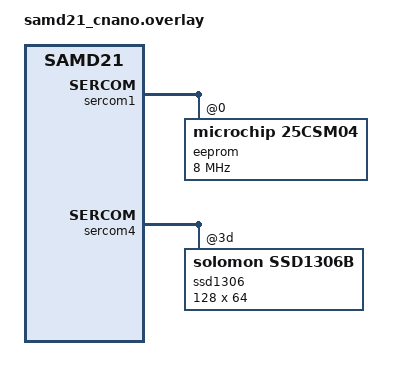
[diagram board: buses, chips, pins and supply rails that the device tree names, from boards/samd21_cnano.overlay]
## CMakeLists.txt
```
# SPDX-License-Identifier: Apache-2.0

cmake_minimum_required(VERSION 3.28.0)
find_package(Zephyr REQUIRED HINTS $ENV{ZEPHYR_BASE})
project(spi_eeprom)
target_sources(app PRIVATE src/main.c)
```

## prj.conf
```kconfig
CONFIG_DISPLAY=y
CONFIG_CHARACTER_FRAMEBUFFER=y
CONFIG_HEAP_MEM_POOL_SIZE=8192

CONFIG_EEPROM=y

CONFIG_SPI=y
```

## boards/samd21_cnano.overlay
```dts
/*
 * SPDX-License-Identifier: Apache-2.0
*/

#include <freq.h>

/{
    chosen {
        zephyr,display = &ssd1306;
    };
};

&sercom1 {
    eeprom: eeprom@0 {
    compatible = "microchip,25csm04", "atmel,at25";
    reg = <0>;
    size = <DT_SIZE_K(512)>;
    pagesize = <256>;
    address-width = <24>;
    spi-max-frequency = <DT_FREQ_M(8)>;
    timeout = <5>;
  };
};

&sercom4 {
    ssd1306: ssd1306@3d {
        compatible = "solomon,ssd1306b";
        reg = <0x3d>;
        segment-offset = <0>;
        page-offset = <0>;
        display-offset = <0>;
        multiplex-ratio = <63>;
        prechargep = <0x22>;
        height = <64>;
        width = <128>;
        segment-remap;
        com-invdir;
    };
};
```

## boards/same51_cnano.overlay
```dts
/*
 * SPDX-License-Identifier: Apache-2.0
*/

#include <freq.h>

/{
    chosen {
        zephyr,display = &ssd1306;
    };
};

&sercom1 {
    eeprom: eeprom@0 {
    compatible = "microchip,25csm04", "atmel,at25";
    reg = <0>;
    size = <DT_SIZE_K(512)>;
    pagesize = <256>;
    address-width = <24>;
    spi-max-frequency = <DT_FREQ_M(8)>;
    timeout = <5>;
  };
};

&sercom2 {
    ssd1306: ssd1306@3d {
        compatible = "solomon,ssd1306b";
        reg = <0x3d>;
        segment-offset = <0>;
        page-offset = <0>;
        display-offset = <0>;
        multiplex-ratio = <63>;
        prechargep = <0x22>;
        height = <64>;
        width = <128>;
        segment-remap;
        com-invdir;
    };
};
```

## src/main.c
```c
/*
 * Curiosity Nano Explorer 25CSM04 SPI EEPROM Test
 * Reads the last 4 joystick inputs from the user and determines if it matches
 * the current password. If the last 4 joystick inputs match the password, then the
 * screen will say "UNLOCKED", otherwise it will say "LOCKED".
 * 
 * Password note: The initial password is UP, RIGHT, DOWN, LEFT (U R D L) but
 * the moment that the user presses the SW3 button the password is changed to the
 * last 4 joystick inputs. The password is written into EEPROM so even upon turning
 * the power off the most recent password will remain.
 * 
 * SPDX-License-Identifier: Apache-2.0
 */

#include <zephyr/devicetree.h>
#include <zephyr/device.h>
#include <zephyr/display/cfb.h>
#include <zephyr/drivers/eeprom.h>
#include <zephyr/drivers/i2c.h>
#include <zephyr/kernel.h>
#include <stdio.h>

/* ---------- MCP23008 (I/O Expander 2) ---------- */
#define IOEXP2_ADDR     0x24
#define MCP_IODIR       0x00
#define MCP_GPPU        0x06
#define MCP_GPIO        0x09

#define JOY_UP          BIT(0)
#define JOY_LEFT        BIT(1)
#define JOY_DOWN        BIT(2)
#define JOY_RIGHT       BIT(3)
#define SW3             BIT(5)
#define JOY_DIR_MASK    (JOY_UP | JOY_LEFT | JOY_DOWN | JOY_RIGHT | SW3)

/* ---------- Timing ---------- */
#define POLL_MS         20      /* joystick polling period */

static const struct device* ssd1306 = DEVICE_DT_GET(DT_CHOSEN(zephyr_display));
static const struct device* eeprom  = DEVICE_DT_GET(DT_NODELABEL(eeprom));
static const struct device* i2c_bus = DEVICE_DT_GET(DT_BUS(DT_CHOSEN(zephyr_display)));
static uint16_t past_moves = 0xFFFF; // used to represent the past 4 moves
static uint16_t password = 0;

static int ioexp_init(void)
{
	int ret;

	ret = i2c_reg_write_byte(i2c_bus, IOEXP2_ADDR, MCP_IODIR, 0xFF); /* all inputs */
	if (ret) {
		return ret;
	}
	return i2c_reg_write_byte(i2c_bus, IOEXP2_ADDR, MCP_GPPU, 0xFF); /* all pull-ups on */
}

/* Returns a bitmask of PRESSED inputs (active-high after inversion), or <0 on error */
static int ioexp_read_pressed(void)
{
	uint8_t val;
	int ret = i2c_reg_read_byte(i2c_bus, IOEXP2_ADDR, MCP_GPIO, &val);

	return ret ? ret : (uint8_t)~val;
}

static void handle_move(uint8_t dirs)
{
	if (dirs & JOY_UP) {
		past_moves <<= 4;
        return;
	}
	if (dirs & JOY_RIGHT) {
		past_moves <<= 4;
		past_moves |= 0x1;
        return;
	}
	if (dirs & JOY_DOWN) {
		past_moves <<= 4;
		past_moves |= 0x2;
        return;
	}
	if (dirs & JOY_LEFT) {
		past_moves <<= 4;
		past_moves |= 0x3;
        return;
	}
	if(dirs & SW3){
		password = past_moves;
		int ret = eeprom_write(eeprom, 0x0000, &password, sizeof(password));
		if(ret != 0) {
			return;
		}
	}
}

int main() {

	if (!device_is_ready(ssd1306)) {
		return 0;
	}

    if (!device_is_ready(eeprom)) {
        return 0;
    }

    if (!device_is_ready(i2c_bus)) {
        return 0;
    }

    if (cfb_framebuffer_init(ssd1306)) { // initialize CFB for use with SSD1306
		return 0;
	}

    if (ioexp_init() != 0) { // initialize I/O Expander 2
        return 0;
    }

    if (eeprom_read(eeprom, 0x0000, &password, sizeof(password)) != 0) // ensure EEPROM is reading correctly
	{   
		return 0;
	}

    if(password == 0xFFFF) { // if there is no password currently in EEPROM
        password = 0x0123;   // set the password to up right left down
    }

    uint8_t prev = 0;

    while(1) {
        uint8_t font_height; //initially 16 pixels, used to select row # for text
        int ret = 0; //used for error handling

        cfb_get_font_size(ssd1306, 0, 0, &font_height);

        cfb_framebuffer_clear(ssd1306, false);

		if(past_moves == password){
			ret = cfb_print(ssd1306, "UNLOCKED", 0, 0); // line 0 on display
			if (ret < 0)
			{   
				return 0;
			}
		} else {
			ret = cfb_print(ssd1306, "LOCKED", 0, 0); // line 0 on display
			if (ret < 0)
			{   
				return 0;
			}
	}

		ret = cfb_print(ssd1306, "------------", 0, font_height*1); // line 1 on display
		if (ret < 0)
		{   
			return 0;
		}

		ret = cfb_print(ssd1306, "INPUT:", 0, font_height*2); // line 2 on display
		if (ret < 0)
		{   
			return 0;
		}
		
		/* --------- JOYSTICK INPUT ----------------*/
        int pressed = ioexp_read_pressed();
		if (pressed < 0) {
			printk("I2C read error %d\n", pressed);
			k_msleep(200);
			continue;
		}

		uint8_t now = (uint8_t)pressed;
		uint8_t new_presses = now & ~prev;

		uint8_t dirs = now & JOY_DIR_MASK;
		if (new_presses & JOY_DIR_MASK) {
			handle_move(dirs);
		}
		/* ----------- END JOYSTICK INPUT --------------- */

		/* --------- MESSAGE CONSTRUCTION ----------------*/
		char message[8];
		const char directions[] = {'U', 'R', 'D', 'L'};

		for (int i = 0; i < 4; i++)
		{
			uint16_t input = (past_moves >> (12 - (i * 4))) & 0xF;

			message[i * 2] = (input < 4) ? directions[input] : 'E';
			message[i * 2 + 1] = ' ';
		}

		message[7] = '\0';
		/* ------------ END MESSAGE CONSTRUCTION---------------- */

		ret = cfb_print(ssd1306, message, 0, font_height * 3); //line 3 on display
		if (ret < 0)
		{   
			return 0;
		}

		prev = now;
		cfb_framebuffer_finalize(ssd1306);
        k_msleep(POLL_MS);
    }
}
```
